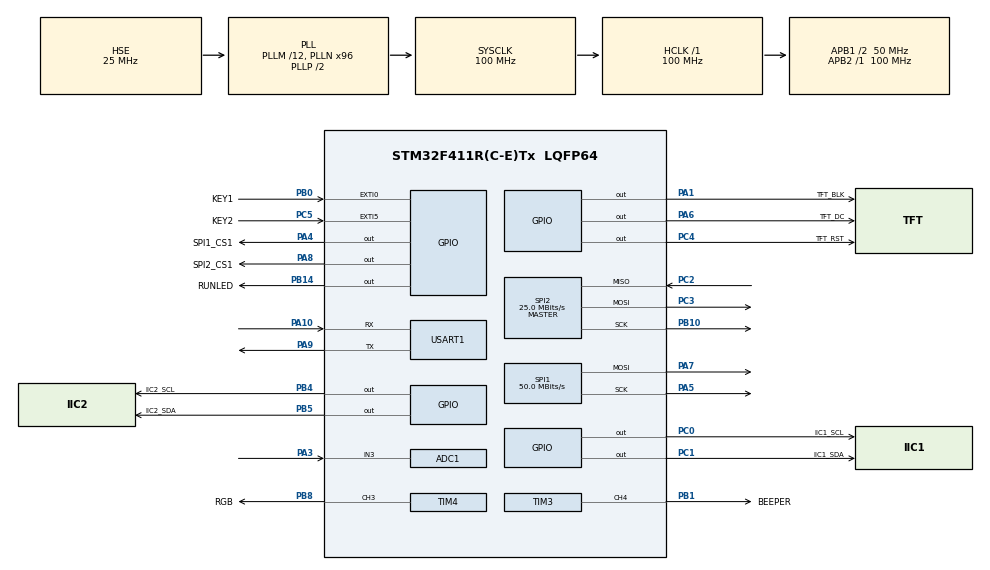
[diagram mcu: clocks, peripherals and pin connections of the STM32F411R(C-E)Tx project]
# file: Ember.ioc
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ADC1.Channel-0\#ChannelRegularConversion=ADC_CHANNEL_3
ADC1.ClockPrescaler=ADC_CLOCK_SYNC_PCLK_DIV6
ADC1.ContinuousConvMode=ENABLE
ADC1.NbrOfConversionFlag=1
ADC1.Rank-0\#ChannelRegularConversion=1
ADC1.SamplingTime-0\#ChannelRegularConversion=ADC_SAMPLETIME_3CYCLES
ADC1.master=1
Dma.Request0=TIM4_CH3
Dma.TIM4_CH3.0.Direction=DMA_MEMORY_TO_PERIPH
Dma.TIM4_CH3.0.FIFOMode=DMA_FIFOMODE_DISABLE
Dma.TIM4_CH3.0.Instance=DMA1_Stream7
Dma.TIM4_CH3.0.MemDataAlignment=DMA_MDATAALIGN_WORD
Dma.TIM4_CH3.0.MemInc=DMA_MINC_ENABLE
Dma.TIM4_CH3.0.Mode=DMA_NORMAL
Dma.TIM4_CH3.0.PeriphDataAlignment=DMA_PDATAALIGN_WORD
Dma.TIM4_CH3.0.PeriphInc=DMA_PINC_DISABLE
Dma.TIM4_CH3.0.Priority=DMA_PRIORITY_VERY_HIGH
Mcu.Family=STM32F4
Mcu.Name=STM32F411R(C-E)Tx
Mcu.Package=LQFP64
NVIC.DMA1_Stream7_IRQn=true\:0\:0\:false\:false\:true\:false\:true\:true
NVIC.EXTI0_IRQn=true\:3\:0\:true\:false\:true\:true\:true\:true
NVIC.EXTI9_5_IRQn=true\:3\:0\:true\:false\:true\:true\:true\:true
NVIC.PriorityGroup=NVIC_PRIORITYGROUP_4
NVIC.TIM1_TRG_COM_TIM11_IRQn=true\:1\:0\:true\:false\:true\:false\:true\:true
NVIC.TIM1_UP_TIM10_IRQn=true\:0\:0\:false\:false\:true\:true\:true\:true
NVIC.TimeBase=TIM1_TRG_COM_TIM11_IRQn
NVIC.TimeBaseIP=TIM11
PA1.GPIO_Label=TFT_BLK
PA1.Signal=GPIO_Output
PA10.Mode=Asynchronous
PA10.Signal=USART1_RX
PA13.Mode=Serial_Wire
PA13.Signal=SYS_JTMS-SWDIO
PA14.Mode=Serial_Wire
PA14.Signal=SYS_JTCK-SWCLK
PA3.Signal=ADCx_IN3
PA4.GPIO_Label=SPI1_CS1
PA4.Signal=GPIO_Output
PA5.Mode=TX_Only_Simplex_Unidirect_Master
PA5.Signal=SPI1_SCK
PA6.GPIO_Label=TFT_DC
PA6.Signal=GPIO_Output
PA7.Mode=TX_Only_Simplex_Unidirect_Master
PA7.Signal=SPI1_MOSI
PA8.GPIO_Label=SPI2_CS1
PA8.Signal=GPIO_Output
PA9.Mode=Asynchronous
PA9.Signal=USART1_TX
PB0.GPIO_Label=KEY1
PB0.GPIO_ModeDefaultEXTI=GPIO_MODE_IT_RISING_FALLING
PB0.GPIO_PuPd=GPIO_PULLUP
PB0.Signal=GPXTI0
PB1.GPIO_Label=BEEPER
PB1.GPIO_Speed=GPIO_SPEED_FREQ_VERY_HIGH
PB1.Signal=S_TIM3_CH4
PB10.Mode=Full_Duplex_Master
PB10.Signal=SPI2_SCK
PB14.GPIO_Label=RUNLED
PB14.Signal=GPIO_Output
PB4.GPIO_Label=IIC2_SCL
PB4.GPIO_ModeDefaultOutputPP=GPIO_MODE_OUTPUT_OD
PB4.GPIO_PuPd=GPIO_NOPULL
PB4.GPIO_Speed=GPIO_SPEED_FREQ_VERY_HIGH
PB4.Signal=GPIO_Output
PB5.GPIO_Label=IIC2_SDA
PB5.GPIO_ModeDefaultOutputPP=GPIO_MODE_OUTPUT_OD
PB5.GPIO_PuPd=GPIO_NOPULL
PB5.GPIO_Speed=GPIO_SPEED_FREQ_VERY_HIGH
PB5.Signal=GPIO_Output
PB8.GPIO_Label=RGB
PB8.GPIO_Speed=GPIO_SPEED_FREQ_VERY_HIGH
PB8.Signal=S_TIM4_CH3
PC0.GPIO_Label=IIC1_SCL
PC0.GPIO_ModeDefaultOutputPP=GPIO_MODE_OUTPUT_OD
PC0.GPIO_PuPd=GPIO_NOPULL
PC0.GPIO_Speed=GPIO_SPEED_FREQ_VERY_HIGH
PC0.Signal=GPIO_Output
PC1.GPIO_Label=IIC1_SDA
PC1.GPIO_ModeDefaultOutputPP=GPIO_MODE_OUTPUT_OD
PC1.GPIO_PuPd=GPIO_NOPULL
PC1.GPIO_Speed=GPIO_SPEED_FREQ_VERY_HIGH
PC1.Signal=GPIO_Output
PC2.Mode=Full_Duplex_Master
PC2.Signal=SPI2_MISO
PC3.Mode=Full_Duplex_Master
PC3.Signal=SPI2_MOSI
PC4.GPIO_Label=TFT_RST
PC4.Signal=GPIO_Output
PC5.GPIO_Label=KEY2
PC5.GPIO_ModeDefaultEXTI=GPIO_MODE_IT_RISING_FALLING
PC5.GPIO_PuPd=GPIO_PULLUP
PC5.Signal=GPXTI5
PH0\ -\ OSC_IN.Mode=HSE-External-Oscillator
PH0\ -\ OSC_IN.Signal=RCC_OSC_IN
PH1\ -\ OSC_OUT.Mode=HSE-External-Oscillator
PH1\ -\ OSC_OUT.Signal=RCC_OSC_OUT
ProjectManager.HeapSize=0x200
ProjectManager.StackSize=0x400
ProjectManager.TargetToolchain=MDK-ARM V5.32
RCC.48MHZClocksFreq_Value=50000000
RCC.AHBFreq_Value=100000000
RCC.APB1CLKDivider=RCC_HCLK_DIV2
RCC.APB1Freq_Value=50000000
RCC.APB1TimFreq_Value=100000000
RCC.APB2Freq_Value=100000000
RCC.APB2TimFreq_Value=100000000
RCC.CortexFreq_Value=100000000
RCC.HCLKFreq_Value=100000000
RCC.HSE_VALUE=25000000
RCC.HSI_VALUE=16000000
RCC.LSE_VALUE=32768
RCC.PLLM=12
RCC.PLLN=96
RCC.PLLSourceVirtual=RCC_PLLSOURCE_HSE
RCC.SYSCLKFreq_VALUE=100000000
RCC.SYSCLKSource=RCC_SYSCLKSOURCE_PLLCLK
RCC.VCOOutputFreq_Value=200000000
SH.ADCx_IN3.0=ADC1_IN3,IN3
SH.S_TIM3_CH4.0=TIM3_CH4,PWM Generation4 CH4
SH.S_TIM4_CH3.0=TIM4_CH3,PWM Generation3 CH3
SPI1.BaudRatePrescaler=SPI_BAUDRATEPRESCALER_2
SPI1.CLKPhase=SPI_PHASE_2EDGE
SPI1.CLKPolarity=SPI_POLARITY_HIGH
SPI1.CalculateBaudRate=50.0 MBits/s
SPI1.Direction=SPI_DIRECTION_2LINES
SPI1.Mode=SPI_MODE_MASTER
SPI1.VirtualType=VM_MASTER
SPI2.BaudRatePrescaler=SPI_BAUDRATEPRESCALER_2
SPI2.CalculateBaudRate=25.0 MBits/s
SPI2.Direction=SPI_DIRECTION_2LINES
SPI2.Mode=SPI_MODE_MASTER
SPI2.VirtualType=VM_MASTER
TIM10.Period=999
TIM10.Prescaler=999
TIM3.Channel-PWM\ Generation4\ CH4=TIM_CHANNEL_4
TIM3.Period=1000 - 1
TIM3.Prescaler=100 - 1
TIM4.Channel-PWM\ Generation3\ CH3=TIM_CHANNEL_3
TIM4.Period=125
USART1.VirtualMode=VM_ASYNC
VP_SYS_VS_tim11.Mode=TIM11
VP_TIM10_VS_ClockSourceINT.Mode=Enable_Timer
VP_TIM3_VS_ClockSourceINT.Mode=Internal
board=custom

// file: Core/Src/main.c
/* USER CODE BEGIN Header */
/**
  ******************************************************************************
  * @file           : main.c
  * @brief          : Main program body
  ******************************************************************************
  * @attention
  *
  * Copyright (c) 2024 STMicroelectronics.
  * All rights reserved.
  *
  * This software is licensed under terms that can be found in the LICENSE file
  * in the root directory of this software component.
  * If no LICENSE file comes with this software, it is provided AS-IS.
  *
  ******************************************************************************
  */
/* USER CODE END Header */
#include "main.h"
#include "adc.h"
#include "dma.h"
#include "spi.h"
#include "tim.h"
#include "usart.h"
#include "gpio.h"

/* USER CODE BEGIN Includes */
#include "FreeRTOS_main.h"
#include "KEY\key.h"
#include "IIC/iic.h"
#include "EEPROM/at24cxx.h"
//#include "circle_buffer.h"
#include "soft_timer.h"
//#include "uart_printf.h"
/* USER CODE END Includes */

/* USER CODE BEGIN PV */
uint8_t g_data_buf[100];  //按键数据缓存区
key_t key1;
key_t key2;
AT24CXX_DeviceDef myDevice = {0};

/* 外部中断回调函数 */
void HAL_GPIO_EXTI_Callback(uint16_t GPIO_Pin)
{
	if (GPIO_Pin == KEY1_Pin)
	{
		Start_Soft_Timer(&key1.debounce_timer, 10); // 启动按键1的定时器，超时 10ms
	}
  if (GPIO_Pin == KEY2_Pin)
	{
		Start_Soft_Timer(&key2.debounce_timer, 10); // 启动按键2定时器，超时 10ms
	}
}

/* USER CODE END PV */

void SystemClock_Config(void);

int main(void)
{

  /* MCU Configuration--------------------------------------------------------*/

  /* Reset of all peripherals, Initializes the Flash interface and the Systick. */
  HAL_Init();

  /* Configure the system clock */
  SystemClock_Config();

  /* USER CODE BEGIN SysInit */

  Key_Init(&key1, KEY1_GPIO_Port, KEY1_Pin,"KEY1"); //按键实例初始化
  Key_Init(&key2, KEY2_GPIO_Port, KEY2_Pin,"KEY2"); //按键实例初始化
  /* USER CODE END SysInit */

  /* Initialize all configured peripherals */
  MX_GPIO_Init();
  MX_DMA_Init();
  MX_USART1_UART_Init();
  MX_SPI1_Init();
  MX_SPI2_Init();
  MX_TIM3_Init();
  MX_TIM4_Init();
  MX_ADC1_Init();
  MX_TIM10_Init();
  /* USER CODE BEGIN 2 */

  myDevice = Create_AT24CXX("AT24C64", 0xA0, AT24C64, IIC2_SCL_GPIO_Port, IIC2_SDA_GPIO_Port, IIC2_SCL_Pin, IIC2_SDA_Pin);

	freertos_start();

  /* USER CODE END 2 */

  /* Infinite loop */
  while (1)
  {

    /* USER CODE BEGIN 3 */
    HAL_GPIO_TogglePin(RUNLED_GPIO_Port,RUNLED_Pin);
    HAL_Delay(100);
  }
  /* USER CODE END 3 */
}

void SystemClock_Config(void)
{
  RCC_OscInitTypeDef RCC_OscInitStruct = {0};
  RCC_ClkInitTypeDef RCC_ClkInitStruct = {0};

  /** Configure the main internal regulator output voltage
  */
  __HAL_RCC_PWR_CLK_ENABLE();
  __HAL_PWR_VOLTAGESCALING_CONFIG(PWR_REGULATOR_VOLTAGE_SCALE1);

  /** Initializes the RCC Oscillators according to the specified parameters
  * in the RCC_OscInitTypeDef structure.
  */
  RCC_OscInitStruct.OscillatorType = RCC_OSCILLATORTYPE_HSE;
  RCC_OscInitStruct.HSEState = RCC_HSE_ON;
  RCC_OscInitStruct.PLL.PLLState = RCC_PLL_ON;
  RCC_OscInitStruct.PLL.PLLSource = RCC_PLLSOURCE_HSE;
  RCC_OscInitStruct.PLL.PLLM = 12;
  RCC_OscInitStruct.PLL.PLLN = 96;
  RCC_OscInitStruct.PLL.PLLP = RCC_PLLP_DIV2;
  RCC_OscInitStruct.PLL.PLLQ = 4;
  if (HAL_RCC_OscConfig(&RCC_OscInitStruct) != HAL_OK)
  {
    Error_Handler();
  }

  /** Initializes the CPU, AHB and APB buses clocks
  */
  RCC_ClkInitStruct.ClockType = RCC_CLOCKTYPE_HCLK|RCC_CLOCKTYPE_SYSCLK
                              |RCC_CLOCKTYPE_PCLK1|RCC_CLOCKTYPE_PCLK2;
  RCC_ClkInitStruct.SYSCLKSource = RCC_SYSCLKSOURCE_PLLCLK;
  RCC_ClkInitStruct.AHBCLKDivider = RCC_SYSCLK_DIV1;
  RCC_ClkInitStruct.APB1CLKDivider = RCC_HCLK_DIV2;
  RCC_ClkInitStruct.APB2CLKDivider = RCC_HCLK_DIV1;

  if (HAL_RCC_ClockConfig(&RCC_ClkInitStruct, FLASH_LATENCY_3) != HAL_OK)
  {
    Error_Handler();
  }
}

void HAL_TIM_PeriodElapsedCallback(TIM_HandleTypeDef *htim)
{
  if (htim->Instance == TIM11) {
    HAL_IncTick();
  }
  /* USER CODE BEGIN Callback 1 */
  if(htim->Instance == TIM10){
    HAL_TIM_Base_Stop_IT(&htim10);
  }
  /* USER CODE END Callback 1 */
}

void Error_Handler(void)
{
  __disable_irq();
  while (1)
  {
  }
}
